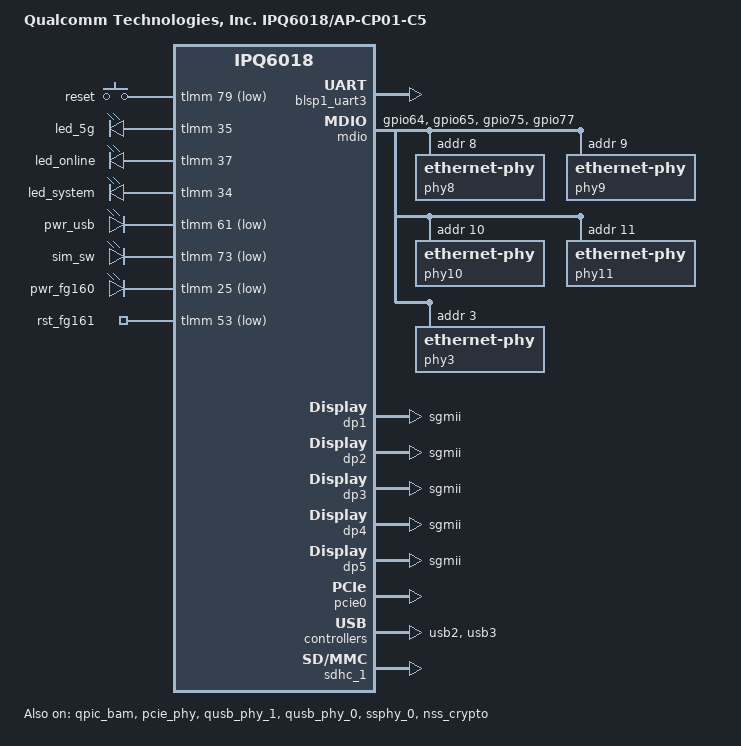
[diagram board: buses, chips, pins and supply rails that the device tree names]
/dts-v1/;
/*
 * Copyright (c) 2019-2021, The Linux Foundation. All rights reserved.
 *
 * Permission to use, copy, modify, and/or distribute this software for any
 * purpose with or without fee is hereby granted, provided that the above
 * copyright notice and this permission notice appear in all copies.
 *
 * THE SOFTWARE IS PROVIDED "AS IS" AND THE AUTHOR DISCLAIMS ALL WARRANTIES
 * WITH REGARD TO THIS SOFTWARE INCLUDING ALL IMPLIED WARRANTIES OF
 * MERCHANTABILITY AND FITNESS. IN NO EVENT SHALL THE AUTHOR BE LIABLE FOR
 * ANY SPECIAL, DIRECT, INDIRECT, OR CONSEQUENTIAL DAMAGES OR ANY DAMAGES
 * WHATSOEVER RESULTING FROM LOSS OF USE, DATA OR PROFITS, WHETHER IN AN
 * ACTION OF CONTRACT, NEGLIGENCE OR OTHER TORTIOUS ACTION, ARISING OUT OF
 * OR IN CONNECTION WITH THE USE OR PERFORMANCE OF THIS SOFTWARE.
 */

#include "ipq6018.dtsi"
#include "ipq6018-cpr-regulator.dtsi"
#include <dt-bindings/input/input.h>

/ {
	model = "Qualcomm Technologies, Inc. IPQ6018/AP-CP01-C5";
	compatible = "qcom,ipq6018-ap-cp01-c5", "qcom,ipq6018-ap-cp01", "qcom,ipq6018";

	aliases {
		serial0 = &blsp1_uart3;
		serial1 = &blsp1_uart2;
		sdhc1 = &sdhc_1;
		/*
		 * Aliases as required by u-boot
		 * to patch MAC addresses
		 */
		ethernet0 = "/soc/dp1";
		ethernet1 = "/soc/dp2";
		ethernet2 = "/soc/dp3";
		ethernet3 = "/soc/dp4";
		ethernet4 = "/soc/dp5";
	};

	chosen {
		stdout-path = "serial0:115200n8";
		bootargs-append = " swiotlb=1";
	};
};

&blsp1_uart3 {
	pinctrl-0 = <&serial_3_pins>;
	pinctrl-names = "default";
	status = "ok";
};

&tlmm {
	mdio_pins: mdio_pinmux {
		mux_0 {
			pins = "gpio64";
			function = "mdc";
			drive-strength = <8>;
			bias-pull-up;
		};
		mux_1 {
			pins = "gpio65";
			function = "mdio";
			drive-strength = <8>;
			bias-pull-up;
		};
		mux_2 {
			pins = "gpio75";
			function = "gpio";
			bias-pull-up;
		};
		mux_3 {
			pins = "gpio77";
			function = "gpio";
			bias-pull-up;
		};
	};

	leds_pins: leds_pins {
		led_5g {
			pins = "gpio35";
			function = "gpio";
			drive-strength = <8>;
			bias-pull-down;
		};
		led_2g {
			pins = "gpio37";
			function = "gpio";
			drive-strength = <8>;
			bias-pull-down;
		};
		led_system {
			pins = "gpio34";
			function = "gpio";
			drive-strength = <8>;
			bias-pull-down;
		};
		m_gpio {
			pins = "gpio61", "gpio73", "gpio25", "gpio53";
			function = "gpio";
			drive-strength = <4>;
			bias-pull-down;
		};
	};
	
	button_pins: button_pins {
		reset_button {
			pins = "gpio79";
			function = "gpio";
			drive-strength = <8>;
			bias-pull-up;
		};
	};
	
	hsuart_pins: hsuart_pins {
		mux {
			pins = "gpio71", "gpio72", "gpio69", "gpio70";
			function = "blsp1_uart";
			drive-strength = <8>;
			bias-disable;
		};
	};
	
	btcoex_pins: btcoex_pins {
		mux_0 {
			pins = "gpio51";
			function = "pta1_1";
			drive-strength = <6>;
			bias-pull-down;
		};
		mux_1 {
			pins = "gpio53";
			function = "pta1_0";
			drive-strength = <6>;
			bias-pull-down;
		};
		mux_2 {
			pins = "gpio52";
			function = "pta1_2";
			drive-strength = <6>;
			bias-pull-down;
		};
	};
};

&soc {
	mdio: mdio@90000 {
		pinctrl-0 = <&mdio_pins>;
		pinctrl-names = "default";
		phy-reset-gpio = <&tlmm 75 0 &tlmm 77 1>;
		status = "ok";
		phy8: ethernet-phy@8 {
			reg = <8>;
		};
		phy9: ethernet-phy@9 {
			reg = <9>;
		};
		phy10: ethernet-phy@10 {
			reg = <10>;
		};
		phy11: ethernet-phy@11 {
			reg = <11>;
		};
		phy3: ethernet-phy@3 {
			reg = <3>;
		};
	};

	dp1 {
		device_type = "network";
		compatible = "qcom,nss-dp";
		qcom,id = <1>;
		reg = <0x3a001000 0x200>;
		qcom,mactype = <0>;
		local-mac-address = [000000000000];
		qcom,link-poll = <1>;
		qcom,phy-mdio-addr = <8>;
		phy-mode = "sgmii";
	};

	dp2 {
		device_type = "network";
		compatible = "qcom,nss-dp";
		qcom,id = <2>;
		reg = <0x3a001200 0x200>;
		qcom,mactype = <0>;
		local-mac-address = [000000000000];
		qcom,link-poll = <1>;
		qcom,phy-mdio-addr = <9>;
		phy-mode = "sgmii";
	};

	dp3 {
		device_type = "network";
		compatible = "qcom,nss-dp";
		qcom,id = <3>;
		reg = <0x3a001400 0x200>;
		qcom,mactype = <0>;
		local-mac-address = [000000000000];
		qcom,link-poll = <1>;
		qcom,phy-mdio-addr = <10>;
		phy-mode = "sgmii";
	};

	dp4 {
		device_type = "network";
		compatible = "qcom,nss-dp";
		qcom,id = <4>;
		reg = <0x3a001600 0x200>;
		qcom,mactype = <0>;
		local-mac-address = [000000000000];
		qcom,link-poll = <1>;
		qcom,phy-mdio-addr = <11>;
		phy-mode = "sgmii";
	};

	dp5 {
		device_type = "network";
		compatible = "qcom,nss-dp";
		qcom,id = <5>;
		reg = <0x3a001800 0x200>;
		qcom,mactype = <0>;
		local-mac-address = [000000000000];
		qcom,link-poll = <1>;
		qcom,phy-mdio-addr = <3>;
		//qcom,forced-speed = <1000>;
		//qcom,forced-duplex = <1>;
		phy-mode = "sgmii";
	};

	ess-switch@3a000000 {
		switch_cpu_bmp = <0x1>;  /* cpu port bitmap */
		switch_lan_bmp = <0x1e>; /* lan port bitmap */
		switch_wan_bmp = <0x20>; /* wan port bitmap */
		switch_inner_bmp = <0xc0>; /*inner port bitmap*/
		switch_mac_mode = <0x0>; /* mac mode for uniphy instance0*/
		switch_mac_mode1 = <0xf>; /* mac mode for uniphy instance1*/
		switch_mac_mode2 = <0xff>; /* mac mode for uniphy instance2*/
		qcom,port_phyinfo {
			port@0 {
				port_id = <1>;
				phy_address = <8>;
			};
			port@1 {
				port_id = <2>;
				phy_address = <9>;
			};
			port@2 {
				port_id = <3>;
				phy_address = <10>;
			};
			port@3 {
				port_id = <4>;
				phy_address = <11>;
			};
			port@4 {
				port_id = <5>;
				phy_address = <3>;
			};
		};
	};
	
	gpio_keys {
		compatible = "gpio-keys";
		pinctrl-0 = <&button_pins>;
		pinctrl-names = "default";

		reset {
			label = "reset";
			linux,code = <KEY_RESTART>;
			gpios = <&tlmm 79 GPIO_ACTIVE_LOW>;
			linux,input-type = <1>;
			debounce-interval = <100>;
		};
	};
	
	leds {
		compatible = "gpio-leds";
		pinctrl-0 = <&leds_pins>;
		pinctrl-names = "default";

		led@35 {
			label = "led_5g";
			gpios = <&tlmm 35 GPIO_ACTIVE_HIGH>;
			linux,default-trigger = "led_5g";
			default-state = "off";
		};
		led@37 {
			label = "led_online";
			gpios = <&tlmm 37 GPIO_ACTIVE_HIGH>;
			linux,default-trigger = "led_2g";
			default-state = "off";
		};
		led@34 {
			label = "led_system";
			gpios = <&tlmm 34 GPIO_ACTIVE_HIGH>;
			linux,default-trigger = "timer";
			default-state = "off";
		};
		
		led@61 {
			label = "pwr_usb";
			gpios = <&tlmm 61 GPIO_ACTIVE_LOW>;
			linux,default-trigger = "pwr_usb";
			default-state = "on";
		};
		
		led@73 {
			label = "sim_sw";
			gpios = <&tlmm 73 GPIO_ACTIVE_LOW>;
			linux,default-trigger = "sim_sw";
			default-state = "off";
		};
		
		led@25 {
			label = "pwr_fg160";
			gpios = <&tlmm 25 GPIO_ACTIVE_LOW>;
			linux,default-trigger = "pwr_fg160";
			default-state = "on";
		};
		
		led@53 {
			label = "rst_fg161";
			gpios = <&tlmm 53 GPIO_ACTIVE_LOW>;
			linux,default-trigger = "rst_fg161";
			default-state = "on";
		};
	};
};

&qpic_bam {
	status = "ok";
};

&pcie_phy {
	status = "ok";
};

&pcie0 {
	status = "ok";
};

&qusb_phy_1 {
	status = "ok";
};

&usb2 {
	status = "ok";
};

&qusb_phy_0 {
	status = "ok";
};

&ssphy_0 {
	status = "ok";
};

&usb3 {
	status = "ok";
};

&nss_crypto {
	status = "ok";
};

&sdhc_1 {
	status = "ok";
};
